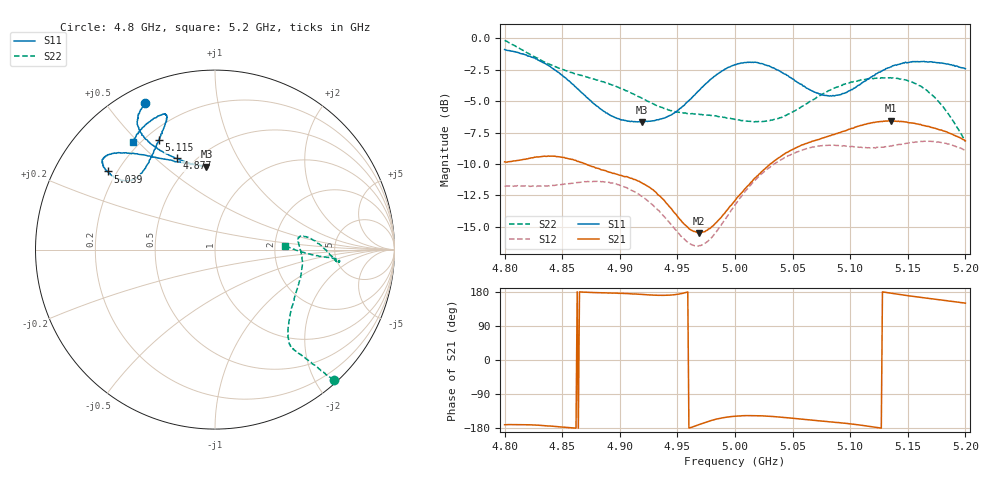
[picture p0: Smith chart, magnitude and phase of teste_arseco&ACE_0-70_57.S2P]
! Network Analyzer HP8722D
! Hewlett-Packard
! Data name: Linha & Wilkinson
! Saver's name: Rodrigo Anjos
! Comments: Teste da utilização de aquisição
! continua pelo VNA HP8722D
! Time and date: 8/5/2025 13:14
!  Frequency  S11  S21  S12  S22
# HZ  S  MA R 50
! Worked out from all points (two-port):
!   401 points, 4.8 GHz to 5.2 GHz, reference 50 ohm
!   highest |S21| = -6.56 dB at 5.135 GHz (marker M1); lowest = -15.5 dB at 4.969 GHz (marker M2)
!   |S21| within 3 dB of the highest: 4.821 GHz to 4.855 GHz (33.61 MHz wide, 0.695 % of centre); 5.037 GHz to end of sweep
!   lowest |S11| = -6.7 dB at 4.919 GHz (marker M3), VSWR 2.74, Z = 29.9 + j35.3 ohm
!   |S11| at or under -10 dB: nowhere
!   |S22| runs from -8.2 to -0.2 dB; largest |S21 - S12| = 0.83
!   S11 on the Smith chart (normalised r, x): 4.8 GHz: 0.07, +0.63; 4.877 GHz: 0.40, +0.59; 5.039 GHz: 0.16, +0.32; 5.115 GHz: 0.25, +0.58; 5.2 GHz: 0.17, +0.48
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4.8e9  0.9026 115.5  0.3223 -170.8  0.2579 -86.1  0.9813 -47.6
4.818e9  0.86 119.9  0.3298 -170.7  0.2584 -82.2  0.8853 -48.8
4.835e9  0.7949 122.3  0.3394 -173.3  0.2585 -76.7  0.8049 -50.0
4.867e9  0.6069 117.5  0.3201 179.2  0.2674 -67.7  0.7119 -51.7
4.877e9  0.5517 112.8  0.308 178.0  0.2692 -66.7  0.6895 -52.0
4.902e9  0.4725 99.7  0.2836 176.0  0.2583 -67.3  0.6285 -49.7
4.919e9  0.4649 95.9  0.2661 173.2  0.2349 -69.2  0.5784 -44.7
4.934e9  0.4749 99.5  0.2367 170.7  0.2061 -69.8  0.5356 -36.9
4.958e9  0.5548 116.1  0.1783 178.7  0.1553 -59.0  0.5024 -21.2
4.969e9  0.6212 123.9  0.1678 -170.2  0.1495 -46.9  0.4987 -14.7
4.981e9  0.699 130.0  0.1791 -158.4  0.1635 -33.2  0.4921 -8.5
5e9  0.786 137.1  0.2259 -148.5  0.2174 -21.6  0.4754 -0.2
5.019e9  0.8019 141.5  0.2826 -147.0  0.2765 -18.7  0.4656 5.9
5.039e9  0.7402 144.0  0.3363 -150.7  0.3264 -18.8  0.4832 8.9
5.067e9  0.6173 141.7  0.3895 -158.7  0.3689 -21.2  0.5665 4.2
5.088e9  0.5939 132.6  0.4178 -164.7  0.3743 -24.4  0.6385 -2.3
5.115e9  0.6873 117.1  0.4575 -174.3  0.3663 -27.3  0.6888 -6.0
5.134e9  0.7649 110.7  0.4686 177.0  0.3717 -29.3  0.6965 -5.3
5.135e9  0.7694 110.7  0.4697 176.6  0.3729 -29.4  0.6974 -5.2
5.163e9  0.8084 112.8  0.4502 164.6  0.3883 -36.4  0.6361 -4.0
5.18e9  0.7968 118.8  0.4297 158.1  0.3841 -41.7  0.539 -3.0
5.2e9  0.7569 127.4  0.3904 150.0  0.358 -47.1  0.3885 3.2
